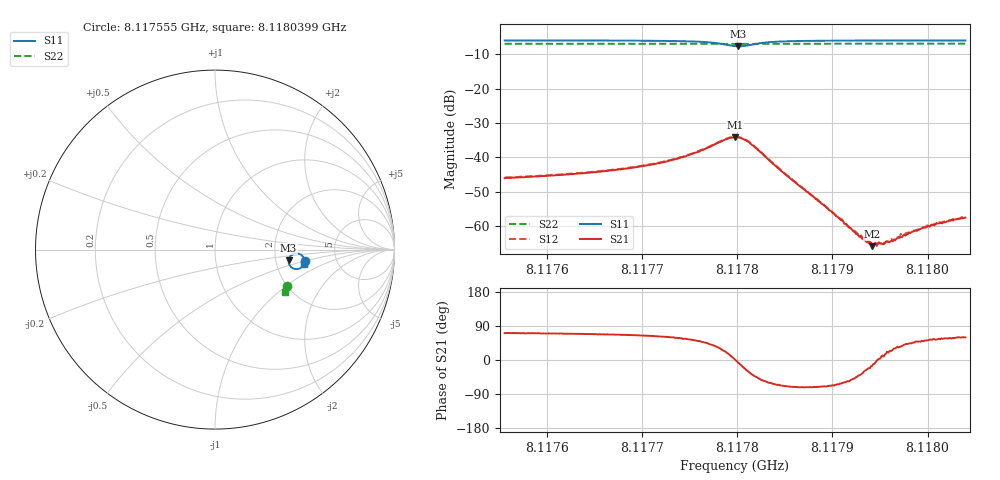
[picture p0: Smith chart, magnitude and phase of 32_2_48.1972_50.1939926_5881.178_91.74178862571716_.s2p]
#  HZ  S  RI  R  50.00
! Rohde & Schwarz Vector Network Analyzer
! Rohde-Schwarz,ZNB20-2Port,1311601062101988,3.16
! Created: UTC 3/20/2024, 11:37:30 AM
! freq[Hz]  re:S11  im:S11  re:S21  im:S21  re:S12  im:S12  re:S22  im:S22
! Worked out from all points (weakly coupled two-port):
!   401 points, 8.117555 GHz to 8.1180399 GHz, reference 50 ohm
!   highest |S21| = -34.11 dB at 8.1177974 GHz (marker M1); lowest = -65.9 dB at 8.1179417 GHz (marker M2)
!   lowest |S11| = -7.6 dB at 8.117801 GHz (marker M3), VSWR 2.42, Z = 118 - j17.1 ohm
!   |S11| at or under -10 dB: nowhere
!   |S22| runs from -7.0 to -6.9 dB; largest |S21 - S12| = 0.00063
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8.11755496e9  0.501 -0.0632  0.00163 0.0047  0.00167 0.00482  0.4028 -0.2055
8.11763618e9  0.4985 -0.0731  0.00212 0.00548  0.00221 0.00557  0.4004 -0.2108
8.1176774e9  0.4962 -0.0798  0.00269 0.00613  0.00277 0.00626  0.3991 -0.2136
8.1177174e9  0.491 -0.0891  0.00383 0.00729  0.004 0.00741  0.3975 -0.2163
8.11774407e9  0.483 -0.0981  0.00575 0.00852  0.00592 0.00871  0.3962 -0.2183
8.11778044e9  0.4436 -0.1077  0.014 0.00877  0.0144 0.0087  0.3933 -0.2202
8.11779741e9  0.4109 -0.0738  0.0197 0.000366  0.02 0.000167  0.392 -0.2194
8.11780104e9  0.4101 -0.0602  0.0193 -0.00258  0.0197 -0.00281  0.3919 -0.219
8.11780711e9  0.4182 -0.0392  0.017 -0.00658  0.0171 -0.00704  0.3923 -0.2187
8.11781438e9  0.437 -0.0243  0.0124 -0.00928  0.0127 -0.00969  0.3931 -0.2187
8.11783862e9  0.4811 -0.0303  0.00348 -0.00703  0.00345 -0.00728  0.3941 -0.2208
8.11787863e9  0.4963 -0.052  0.000858 -0.00263  0.000822 -0.00265  0.3933 -0.2242
8.11790772e9  0.4985 -0.0608  0.000588 -0.00112  0.000555 -0.00118  0.3923 -0.2266
8.11791863e9  0.4987 -0.0635  0.000555 -0.000753  0.000533 -0.000771  0.3919 -0.2272
8.11793318e9  0.499 -0.0664  0.000546 -0.000311  0.000574 -0.000373  0.3915 -0.2282
8.11794167e9  0.499 -0.0679  0.000491 -0.000136  0.000541 -0.00018  0.3913 -0.2288
8.11795258e9  0.499 -0.0699  0.00053 0.000113  0.000566 0.000103  0.3909 -0.2295
8.11795985e9  0.499 -0.071  0.000532 0.000232  0.000581 0.000201  0.3906 -0.23
8.11796591e9  0.499 -0.0718  0.00054 0.000317  0.000532 0.000315  0.3904 -0.2305
8.1179744e9  0.4988 -0.0732  0.000568 0.000461  0.000585 0.000457  0.3902 -0.231
8.11800228e9  0.4987 -0.0769  0.000578 0.000791  0.000644 0.000783  0.3893 -0.2327
8.11803986e9  0.4982 -0.0813  0.000669 0.00115  0.000692 0.00116  0.3877 -0.2351
